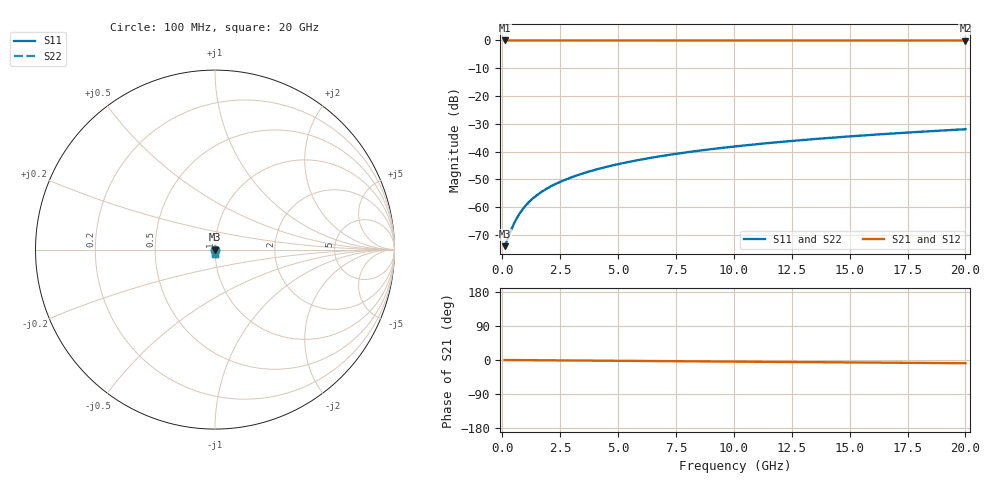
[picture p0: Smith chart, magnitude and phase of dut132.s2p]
! Touchstone file exported from HFSS 2026.1.0
!  File:  C:/ffzhzh/LocalFiles/Ansys_Project_Files/temp_train_TSV_132_1782990187_6248.aedt
!  Generated:  07:04:42 PM Jul  2, 2026
!  Design:  TSV
!  Project:  temp_train_TSV_132_1782990187_6248
! Variables:
!  h_bsmrdl = 2um
!  h_ox = 20um
!  h_rdl = 5um
!  h_sub = 89.03um
!  h_tmrdl = 5um
!  h_tsv = 89.03um
!  h_via = 3um
!  l_bsmrdl = 300um
!  l_sub = 417.02um
!  l_tmrdl = 200um
!  m_sub = 200um
!  pitch = 29.27um
!  r_tsv = 8.51um
!  s_tmrdl = 10um
!  w_bsmrdl = 18um
!  w_sub = 500um
!  w_tmrdl = 12um
!  x_tsv_center1 = 206um
!  x_tsv_center2 = 524um
!  x_tsv_center3 = 736um
!  x_tsv_center4 = 1054um
!  x_tsv_center5 = 1266um
!  x_tsv_center6 = 1584um
# GHz S MA R 50.000000
! Terminal data exported
! Port[1] = TSV1_1_T1
! Port[2] = TSV1_1_T2
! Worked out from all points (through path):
!   200 points, 100 MHz to 20 GHz, reference 50 ohm
!   highest |S21| = 0.00 dB at 100 MHz (marker M1); lowest = 0.0 dB at 20 GHz (marker M2)
!   group delay of S21, straight-line fit = 1.18 ps
!   lowest |S11| = -74.0 dB at 100 MHz (marker M3), VSWR 1.00, Z = 50 - j0.00705 ohm
!   |S11| at or under -10 dB: start of sweep to end of sweep
!   |S22| runs from -74.0 to -31.9 dB; largest |S21 - S12| = 4.2e-15
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0.1  0.0001988 -20.8  0.9998 -0.0  0.9998 -0.0  0.0001988 -20.8
! Gamma 0 0 0 0
! Port Impedance 50 0 50 0
0.2  0.0002485 -35.7  0.9998 -0.1  0.9998 -0.1  0.0002485 -35.7
0.4  0.0004051 -51.2  0.9997 -0.2  0.9997 -0.2  0.0004051 -51.2
0.5  0.0005011 -55.5  0.9997 -0.2  0.9997 -0.2  0.0005011 -55.5
0.6  0.0006046 -58.8  0.9997 -0.3  0.9997 -0.3  0.0006046 -58.8
0.7  0.0007134 -61.4  0.9997 -0.3  0.9997 -0.3  0.0007134 -61.4
0.9  0.0009409 -65.6  0.9996 -0.4  0.9996 -0.4  0.0009409 -65.6
1.2  0.001294 -70.0  0.9995 -0.5  0.9995 -0.5  0.001294 -70.0
1.4  0.001532 -72.2  0.9995 -0.6  0.9995 -0.6  0.001532 -72.2
1.6  0.001772 -73.9  0.9995 -0.7  0.9995 -0.7  0.001772 -73.9
2.1  0.002373 -77.0  0.9994 -0.9  0.9994 -0.9  0.002373 -77.0
2.7  0.003099 -79.4  0.9994 -1.2  0.9994 -1.2  0.003099 -79.4
3.5  0.004076 -81.5  0.9993 -1.5  0.9993 -1.5  0.004076 -81.5
4.2  0.004941 -82.7  0.9992 -1.8  0.9992 -1.8  0.004941 -82.7
5  0.005941 -83.9  0.9991 -2.1  0.9991 -2.1  0.005941 -83.9
5.9  0.007076 -85.0  0.999 -2.5  0.999 -2.5  0.007076 -85.0
6.8  0.00822 -85.9  0.999 -2.9  0.999 -2.9  0.00822 -85.9
8.3  0.01014 -87.2  0.9988 -3.5  0.9988 -3.5  0.01014 -87.2
10.1  0.01245 -88.7  0.9987 -4.3  0.9987 -4.3  0.01245 -88.7
13.4  0.01671 -90.9  0.9985 -5.7  0.9985 -5.7  0.01671 -90.9
16.7  0.02098 -92.8  0.9982 -7.1  0.9982 -7.1  0.02098 -92.8
20  0.02527 -94.5  0.9979 -8.5  0.9979 -8.5  0.02527 -94.5
